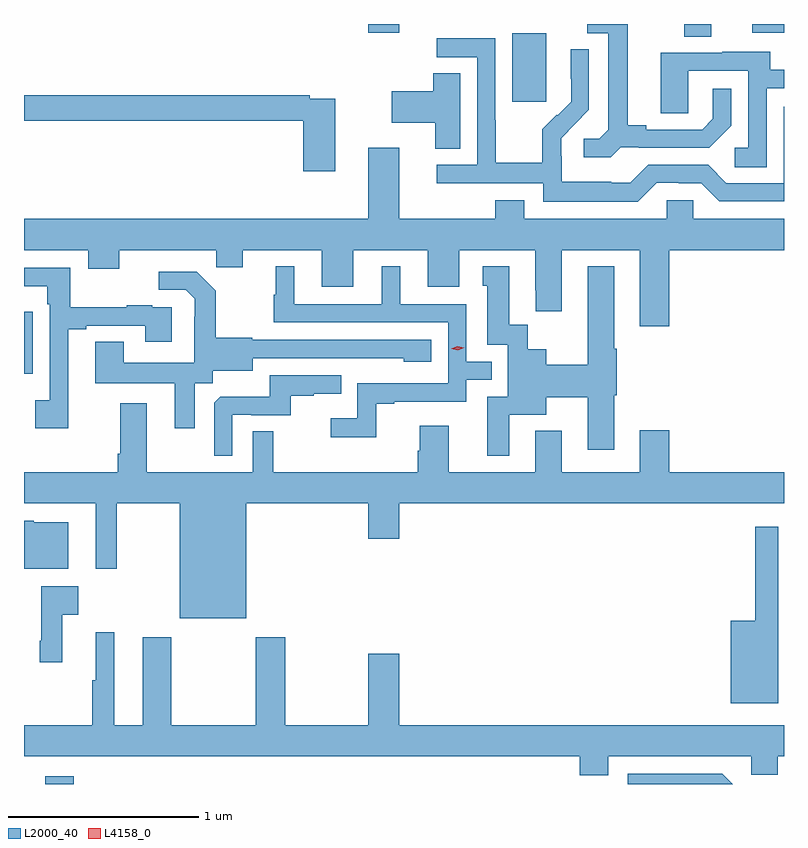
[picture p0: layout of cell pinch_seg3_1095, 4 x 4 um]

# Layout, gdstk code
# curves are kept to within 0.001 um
import gdstk
lib = gdstk.Library(unit=1e-6, precision=1e-09)
def R(c, l, rs):  # rectangles x0, y0, x1, y1
    for r in rs: c.add(gdstk.rectangle(r[:2], r[2:], *l))
def P(c, l, *ps):  # polygons
    for p in ps: c.add(gdstk.Polygon(p, *l))
L2000_40 = (2000, 40)
L4158_0 = (4158, 0)

pinch_seg3_1095 = lib.new_cell('pinch_seg3_1095')
R(pinch_seg3_1095, L2000_40, [(379.094,671.466,379.244,671.506), (378.981,673.626,379.026,673.951), (381.551,675.057,381.73,675.418), (382.457,675.4,382.597,675.466), (380.792,675.42,380.956,675.466), (382.815,675.42,382.981,675.466)])
P(pinch_seg3_1095, L2000_40, [(382.122,674.817),(382.216,674.817),(382.216,674.814),(382.588,674.814),(382.704,674.93),(382.704,675.124),(382.607,675.124),(382.607,674.967),(382.55,674.91),(382.255,674.91),(382.255,674.933),(382.159,674.933),(382.159,675.466),(381.945,675.466),(381.945,675.417),(382.055,675.417),(382.055,674.909),(382.008,674.862),(381.927,674.862),(381.927,674.765),(382.07,674.765)],
  [(382.311,674.631),(382.427,674.631),(382.427,674.628),(382.545,674.628),(382.641,674.532),(382.981,674.532),(382.981,675.03),(382.98,674.628),(382.677,674.628),(382.581,674.724),(382.266,674.724),(382.173,674.631),(382.073,674.631),(382.073,674.635),(381.81,674.635),(381.81,674.769),(381.808,674.769),(381.808,674.866),(381.954,675.014),(381.954,675.332),(381.858,675.332),(381.858,675.178),(381.86,675.178),(381.86,675.056),(381.789,674.985),(381.786,674.988),(381.709,674.911),(381.709,674.737),(381.465,674.737),(381.465,674.96),(381.462,674.96),(381.462,675.39),(381.153,675.39),(381.153,675.291),(381.366,675.291),(381.366,674.724),(381.153,674.724),(381.153,674.628),(381.714,674.628),(381.714,674.531),(382.211,674.531)],
  [(382.89,675.129),(382.981,675.129),(382.981,675.225),(382.909,675.225),(382.909,675.319),(382.655,675.319),(382.655,675.315),(382.331,675.315),(382.331,674.995),(382.476,674.995),(382.476,675.219),(382.794,675.219),(382.794,674.814),(382.722,674.814),(382.722,674.713),(382.89,674.713)],
  [(381.277,675.206),(381.134,675.206),(381.134,675.111),(380.916,675.111),(380.916,674.945),(381.146,674.945),(381.146,674.809),(381.277,674.809)],
  [(380.62,675.072),(380.486,675.072),(380.486,675.092),(378.981,675.092),(378.981,674.956),(380.45,674.956),(380.45,674.691),(380.62,674.691)],
  [(382.376,674.276),(382.981,674.276),(382.981,674.44),(382.503,674.44),(382.503,674.538),(382.365,674.538),(382.365,674.44),(381.613,674.44),(381.613,674.539),(381.461,674.539),(381.461,674.44),(380.956,674.44),(380.956,674.815),(380.792,674.815),(380.792,674.44),(378.981,674.44),(378.981,674.276),(379.319,674.276),(379.319,674.177),(379.483,674.177),(379.483,674.276),(379.993,674.276),(379.993,674.186),(380.131,674.186),(380.131,674.276),(380.549,674.276),(380.549,674.082),(380.713,674.082),(380.713,674.276),(381.107,674.276),(381.107,674.082),(381.271,674.082),(381.271,674.276),(381.671,674.276),(381.671,674.065),(381.674,674.065),(381.674,673.953),(381.811,673.953),(381.811,674.276),(382.223,674.276),(382.223,673.875),(382.376,673.875)],
  [(381.535,673.409),(381.73,673.409),(381.73,673.501),(381.947,673.501),(381.947,673.224),(382.087,673.224),(382.087,673.512),(382.1,673.512),(382.1,673.756),(382.087,673.756),(382.087,674.191),(381.947,674.191),(381.947,673.673),(381.73,673.673),(381.73,673.753),(381.633,673.753),(381.633,673.883),(381.535,673.883),(381.535,674.191),(381.395,674.191),(381.395,674.088),(381.419,674.088),(381.419,673.779),(381.528,673.779),(381.528,673.503),(381.419,673.503),(381.419,673.194),(381.535,673.194)],
  [(380.835,673.467),(380.929,673.467),(380.929,673.479),(381.309,673.479),(381.309,673.593),(381.442,673.593),(381.442,673.689),(381.309,673.689),(381.309,673.992),(380.962,673.992),(380.962,674.191),(380.864,674.191),(380.864,673.992),(380.404,673.992),(380.404,674.191),(380.306,674.191),(380.306,674.04),(380.295,674.04),(380.295,673.896),(381.213,673.896),(381.213,673.575),(380.736,673.575),(380.736,673.39),(380.595,673.39),(380.595,673.292),(380.835,673.292)],
  [(379.213,673.86),(379.309,673.86),(379.309,673.878),(379.619,673.878),(379.619,673.794),(379.759,673.794),(379.759,673.974),(379.655,673.974),(379.655,673.987),(379.523,673.987),(379.523,673.976),(379.225,673.976),(379.225,674.184),(378.981,674.184),(378.981,674.087),(379.104,674.087),(379.104,673.991),(379.116,673.991),(379.116,673.486),(379.041,673.486),(379.041,673.338),(379.213,673.338)],
  [(379.879,673.576),(379.974,673.576),(379.974,673.64),(380.185,673.64),(380.185,673.707),(380.979,673.706),(380.979,673.688),(381.124,673.688),(381.124,673.803),(380.181,673.803),(380.181,673.816),(379.989,673.816),(379.989,674.061),(379.889,674.161),(379.689,674.161),(379.689,674.067),(379.833,674.067),(379.88,674.02),(379.88,673.925),(379.878,673.925),(379.878,673.684),(379.507,673.684),(379.507,673.793),(379.355,673.793),(379.355,673.574),(379.775,673.574),(379.775,673.338),(379.879,673.338)],
  [(380.076,673.41),(380.176,673.41),(380.176,673.407),(380.384,673.407),(380.384,673.509),(380.507,673.509),(380.507,673.52),(380.651,673.52),(380.651,673.617),(380.274,673.617),(380.274,673.505),(380.015,673.505),(379.983,673.473),(379.983,673.193),(380.076,673.193)],
  [(380.152,672.944),(380.792,672.944),(380.792,672.756),(380.956,672.756),(380.956,672.944),(382.981,672.944),(382.981,673.108),(382.376,673.108),(382.376,673.327),(382.223,673.327),(382.223,673.108),(381.811,673.108),(381.811,673.324),(381.671,673.324),(381.671,673.108),(381.217,673.108),(381.217,673.351),(381.065,673.351),(381.065,673.221),(381.053,673.221),(381.053,673.108),(380.293,673.108),(380.293,673.322),(380.184,673.322),(380.184,673.108),(379.627,673.108),(379.627,673.471),(379.487,673.471),(379.487,673.204),(379.475,673.204),(379.475,673.108),(378.981,673.108),(378.981,672.944),(379.358,672.944),(379.358,672.6),(379.468,672.6),(379.468,672.944),(379.802,672.944),(379.802,672.338),(380.152,672.338)],
  [(379.213,672.844),(379.032,672.844),(379.032,672.852),(378.981,672.852),(378.981,672.599),(379.213,672.599)],
  [(382.951,672.82),(382.83,672.82),(382.83,672.325),(382.7,672.325),(382.7,671.891),(382.951,671.891)],
  [(379.181,672.356),(379.267,672.356),(379.267,672.508),(379.071,672.508),(379.071,672.22),(379.063,672.22),(379.063,672.108),(379.181,672.108)],
  [(382.057,671.612),(382.809,671.612),(382.809,671.514),(382.947,671.514),(382.947,671.612),(382.981,671.612),(382.981,671.776),(380.956,671.776),(380.956,672.151),(380.792,672.151),(380.792,671.776),(380.355,671.776),(380.355,672.238),(380.2,672.238),(380.2,671.776),(379.755,671.776),(379.755,672.238),(379.607,672.238),(379.607,671.776),(379.456,671.776),(379.456,672.265),(379.358,672.265),(379.358,672.012),(379.339,672.012),(379.339,671.776),(378.981,671.776),(378.981,671.612),(381.905,671.612),(381.905,671.513),(382.057,671.513)],
  [(382.655,671.521),(382.158,671.521),(382.158,671.466),(382.71,671.466)])
P(pinch_seg3_1095, L4158_0, [(381.264,673.749),(381.229,673.757),(381.229,673.757),(381.229,673.757),(381.262,673.769),(381.297,673.762),(381.298,673.762),(381.297,673.762)])

lib.write_gds('pinch_seg3_1095.gds')
